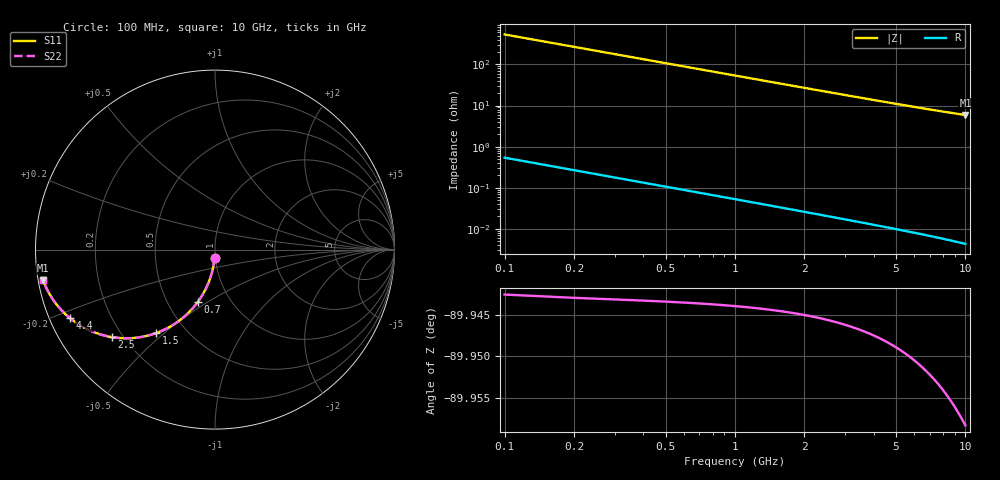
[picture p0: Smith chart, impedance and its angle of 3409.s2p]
# Hz S RI R 50.00
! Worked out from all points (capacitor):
!   100 points, 100 MHz to 10 GHz, reference 50 ohm
!   read as one part in shunt: C = 2.96 pF near 100 MHz
!   lowest |Z| = 5.89 ohm at 10 GHz (marker M1)
!   S11 on the Smith chart (normalised r, x): 100 MHz: 0.99, -0.09; 700 MHz: 0.70, -0.45; 1.5 GHz: 0.34, -0.47; 2.5 GHz: 0.16, -0.36; 4.4 GHz: 0.06, -0.22; 10 GHz: 0.01, -0.09
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1e8  -0.00216 -0.0462  0.9977 -0.0467  0.9977 -0.0467  -0.00216 -0.0462
2e8  -0.00863 -0.0918  0.9913 -0.0928  0.9913 -0.0928  -0.00863 -0.0918
3e8  -0.0192 -0.1362  0.9807 -0.1377  0.9807 -0.1377  -0.0192 -0.1362
4e8  -0.0336 -0.1789  0.9663 -0.1809  0.9663 -0.1809  -0.0336 -0.1789
5e8  -0.0515 -0.2194  0.9484 -0.2219  0.9484 -0.2219  -0.0515 -0.2194
6e8  -0.0725 -0.2574  0.9274 -0.2604  0.9274 -0.2604  -0.0725 -0.2574
7e8  -0.0961 -0.2926  0.9037 -0.2961  0.9037 -0.2961  -0.0961 -0.2926
9e8  -0.1495 -0.3538  0.8504 -0.3584  0.8504 -0.3584  -0.1495 -0.3538
1.1e9  -0.2079 -0.4025  0.792 -0.4081  0.792 -0.4081  -0.2079 -0.4025
1.3e9  -0.2681 -0.4392  0.7317 -0.4458  0.7317 -0.4458  -0.2681 -0.4392
1.5e9  -0.3278 -0.4651  0.6721 -0.4727  0.6721 -0.4727  -0.3278 -0.4651
1.8e9  -0.4125 -0.4872  0.5874 -0.4964  0.5874 -0.4964  -0.4125 -0.4872
2.1e9  -0.4887 -0.494  0.5112 -0.5047  0.5112 -0.5047  -0.4887 -0.494
2.5e9  -0.5753 -0.4874  0.4245 -0.5002  0.4245 -0.5002  -0.5753 -0.4874
2.9e9  -0.6458 -0.4703  0.3539 -0.4851  0.3539 -0.4851  -0.6458 -0.4703
3.4e9  -0.715 -0.4421  0.2847 -0.4596  0.2847 -0.4596  -0.715 -0.4421
3.9e9  -0.7677 -0.4116  0.232 -0.4317  0.232 -0.4317  -0.7677 -0.4116
4.4e9  -0.8082 -0.3816  0.1914 -0.4045  0.1914 -0.4045  -0.8082 -0.3816
5.1e9  -0.8502 -0.3428  0.1493 -0.3694  0.1493 -0.3694  -0.8502 -0.3428
6.7e9  -0.9081 -0.27  0.0912 -0.3056  0.0912 -0.3056  -0.9081 -0.27
8.4e9  -0.9401 -0.2128  0.0587 -0.2583  0.0587 -0.2583  -0.9401 -0.2128
1e10  -0.9575 -0.1718  0.0409 -0.227  0.0409 -0.227  -0.9575 -0.1718
